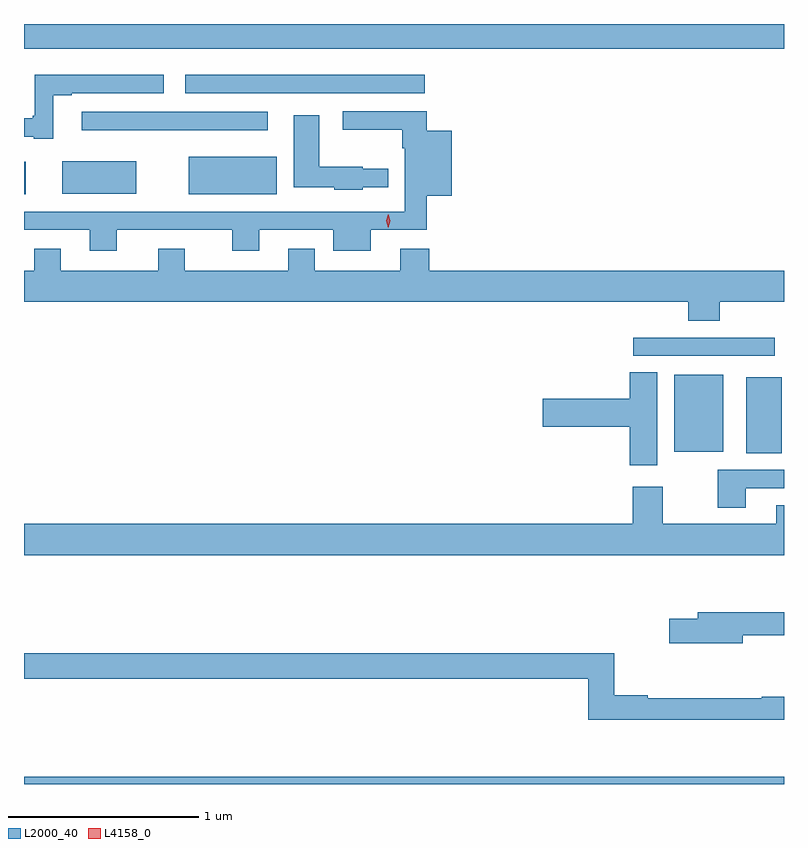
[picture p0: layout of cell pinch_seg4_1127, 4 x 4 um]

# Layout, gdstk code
import gdstk
lib = gdstk.Library(unit=1e-6, precision=1e-09)
def R(c, l, rs):  # rectangles x0, y0, x1, y1
    for r in rs: c.add(gdstk.rectangle(r[:2], r[2:], *l))
def P(c, l, *ps):  # polygons
    for p in ps: c.add(gdstk.Polygon(p, *l))
L2000_40 = (2000, 40)
L4158_0 = (4158, 0)

pinch_seg4_1127 = lib.new_cell('pinch_seg4_1127')
R(pinch_seg4_1127, L2000_40, [(433.002,768.975,437.002,769.012), (436.802,770.717,436.99,771.115), (436.424,770.723,436.681,771.13), (436.209,771.228,436.954,771.324), (433.002,772.079,433.012,772.249), (433.868,772.079,434.332,772.276), (433.202,772.082,433.594,772.252), (433.305,772.415,434.284,772.512), (433.851,772.611,435.112,772.708), (433.002,772.844,437.002,772.975)])
P(pinch_seg4_1127, L2000_40, [(433.156,772.599),(433.252,772.599),(433.252,772.611),(433.738,772.611),(433.738,772.708),(433.058,772.708),(433.058,772.492),(433.047,772.492),(433.047,772.48),(433.002,772.48),(433.002,772.382),(433.052,772.382),(433.052,772.371),(433.156,772.371)],
  [(433.489,771.891),(434.099,771.891),(434.099,771.782),(434.239,771.782),(434.239,771.891),(434.63,771.891),(434.63,771.782),(434.827,771.782),(434.827,771.891),(435.122,771.891),(435.122,772.07),(435.253,772.07),(435.253,772.414),(435.122,772.414),(435.122,772.515),(434.679,772.515),(434.679,772.418),(434.994,772.418),(434.994,772.322),(435.006,772.322),(435.006,771.987),(433.002,771.987),(433.002,771.891),(433.349,771.891),(433.349,771.782),(433.489,771.782)],
  [(434.784,772.116),(434.92,772.116),(434.92,772.214),(434.784,772.214),(434.784,772.225),(434.557,772.225),(434.557,772.495),(434.423,772.495),(434.423,772.115),(434.634,772.115),(434.634,772.103),(434.784,772.103)],
  [(436.664,771.512),(437.002,771.512),(437.002,771.676),(435.134,771.676),(435.134,771.793),(434.981,771.793),(434.981,771.676),(434.533,771.676),(434.533,771.793),(434.393,771.793),(434.393,771.676),(433.849,771.676),(433.849,771.793),(433.709,771.793),(433.709,771.676),(433.195,771.676),(433.195,771.793),(433.055,771.793),(433.055,771.676),(433.002,771.676),(433.002,771.512),(436.499,771.512),(436.499,771.413),(436.664,771.413)],
  [(436.336,771.143),(436.19,771.143),(436.19,771.002),(435.732,771.002),(435.732,770.855),(436.19,770.855),(436.19,770.652),(436.336,770.652)],
  [(436.801,770.532),(437.002,770.532),(437.002,770.628),(436.654,770.628),(436.654,770.43),(436.801,770.43)],
  [(437.002,770.443),(436.961,770.443),(436.961,770.344),(436.365,770.344),(436.365,770.539),(436.205,770.539),(436.205,770.344),(433.002,770.344),(433.002,770.18),(437.002,770.18)],
  [(436.786,769.758),(437.002,769.758),(437.002,769.879),(436.547,769.879),(436.547,769.845),(436.398,769.845),(436.398,769.715),(436.786,769.715)],
  [(437.002,769.435),(436.886,769.435),(436.886,769.427),(436.286,769.427),(436.286,769.442),(436.109,769.442),(436.109,769.664),(433.002,769.664),(433.002,769.528),(435.973,769.528),(435.973,769.314),(437.002,769.314)])
P(pinch_seg4_1127, L4158_0, [(434.919,771.903),(434.919,771.903),(434.909,771.939),(434.919,771.975),(434.92,771.975),(434.92,771.975),(434.929,771.939),(434.919,771.903)])

lib.write_gds('pinch_seg4_1127.gds')
